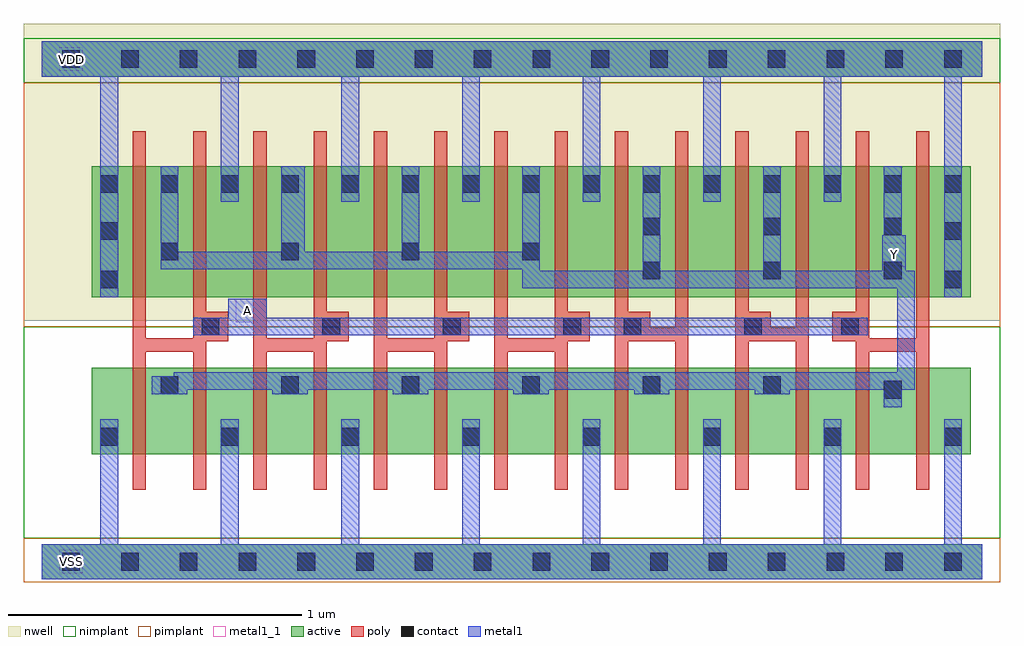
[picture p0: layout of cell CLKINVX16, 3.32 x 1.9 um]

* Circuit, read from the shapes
.subckt CLKINVX16 A VDD VSS Y
M1 Y A VSS VSS nfet w=0.295u l=0.045u m=14
M2 Y A VDD VDD pfet w=0.445u l=0.045u m=14
.ends

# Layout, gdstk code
import gdstk
lib = gdstk.Library(unit=1e-6, precision=5e-10)
def R(c, l, rs):  # rectangles x0, y0, x1, y1
    for r in rs: c.add(gdstk.rectangle(r[:2], r[2:], *l))
def A(c, l, x, y, w, h, nx, ny, dx, dy):  # array of equal rectangles
    R(c, l, [(x+i*dx, y+j*dy, x+i*dx+w, y+j*dy+h) for i in range(nx) for j in range(ny)])
def P(c, l, *ps):  # polygons
    for p in ps: c.add(gdstk.Polygon(p, *l))
active = (1, 0)
nwell = (2, 0)
poly = (3, 0)
nimplant = (4, 0)
pimplant = (5, 0)
contact = (6, 0)
metal1 = (7, 0)
metal1_1 = (7, 1)

clkinvx16 = lib.new_cell('CLKINVX16')
R(clkinvx16, active, [(0,-0.06,3.2,0.06), (0.17,0.365,3.16,0.66), (0.17,0.9,3.16,1.345), (0,1.65,3.2,1.77)])
R(clkinvx16, nwell, [(-0.06,0.82,3.26,1.83)])
P(clkinvx16, poly, [(0.31,1.465),(0.355,1.465),(0.355,0.76),(0.515,0.76),(0.515,1.465),(0.56,1.465),(0.56,0.85),(0.635,0.85),(0.635,0.75),(0.56,0.75),(0.56,0.245),(0.515,0.245),(0.515,0.715),(0.355,0.715),(0.355,0.245),(0.31,0.245)],
  [(0.72,1.465),(0.765,1.465),(0.765,0.76),(0.925,0.76),(0.925,1.465),(0.97,1.465),(0.97,0.85),(1.045,0.85),(1.045,0.75),(0.97,0.75),(0.97,0.245),(0.925,0.245),(0.925,0.715),(0.765,0.715),(0.765,0.245),(0.72,0.245)],
  [(1.13,1.465),(1.175,1.465),(1.175,0.76),(1.335,0.76),(1.335,1.465),(1.38,1.465),(1.38,0.85),(1.455,0.85),(1.455,0.75),(1.38,0.75),(1.38,0.245),(1.335,0.245),(1.335,0.715),(1.175,0.715),(1.175,0.245),(1.13,0.245)],
  [(1.54,1.465),(1.585,1.465),(1.585,0.76),(1.745,0.76),(1.745,1.465),(1.79,1.465),(1.79,0.85),(1.865,0.85),(1.865,0.75),(1.79,0.75),(1.79,0.245),(1.745,0.245),(1.745,0.715),(1.585,0.715),(1.585,0.245),(1.54,0.245)],
  [(1.95,1.465),(1.995,1.465),(1.995,0.85),(2.07,0.85),(2.07,0.795),(2.155,0.795),(2.155,1.465),(2.2,1.465),(2.2,0.245),(2.155,0.245),(2.155,0.75),(1.995,0.75),(1.995,0.245),(1.95,0.245)],
  [(2.36,1.465),(2.405,1.465),(2.405,0.85),(2.48,0.85),(2.48,0.795),(2.565,0.795),(2.565,1.465),(2.61,1.465),(2.61,0.245),(2.565,0.245),(2.565,0.75),(2.405,0.75),(2.405,0.245),(2.36,0.245)],
  [(2.77,1.465),(2.815,1.465),(2.815,0.76),(2.975,0.76),(2.975,1.465),(3.02,1.465),(3.02,0.245),(2.975,0.245),(2.975,0.715),(2.815,0.715),(2.815,0.245),(2.77,0.245),(2.77,0.75),(2.69,0.75),(2.69,0.85),(2.77,0.85)])
R(clkinvx16, nimplant, [(-0.06,0.08,3.26,0.8), (-0.06,1.63,3.26,1.78)])
R(clkinvx16, pimplant, [(-0.06,-0.07,3.26,0.08), (-0.06,0.8,3.26,1.63)])
A(clkinvx16, contact, 0.07, -0.03, 0.06, 0.06, 16, 2, 0.2, 1.71)
A(clkinvx16, contact, 0.2, 0.395, 0.06, 0.06, 8, 1, 0.41, 0)
A(clkinvx16, contact, 0.405, 0.57, 0.06, 0.06, 6, 1, 0.41, 0)
A(clkinvx16, contact, 0.545, 0.77, 0.06, 0.06, 4, 1, 0.41, 0)
A(clkinvx16, contact, 2.045, 0.96, 0.06, 0.06, 3, 2, 0.41, 0.15)
A(clkinvx16, contact, 0.405, 1.025, 0.06, 0.06, 4, 1, 0.41, 0)
A(clkinvx16, contact, 0.2, 1.255, 0.06, 0.06, 15, 1, 0.205, 0)
R(clkinvx16, contact, [(2.865,0.555,2.925,0.615), (1.98,0.77,2.04,0.83), (2.39,0.77,2.45,0.83), (2.72,0.77,2.78,0.83), (0.2,0.93,0.26,0.99), (3.07,0.93,3.13,0.99), (0.2,1.095,0.26,1.155), (3.07,1.095,3.13,1.155)])
P(clkinvx16, metal1, [(0.635,0.895),(0.765,0.895),(0.765,0.83),(2.81,0.83),(2.81,0.77),(0.515,0.77),(0.515,0.83),(0.635,0.83)],
  [(0.2,0.485),(0.26,0.485),(0.26,0.06),(0.61,0.06),(0.61,0.485),(0.67,0.485),(0.67,0.06),(1.02,0.06),(1.02,0.485),(1.08,0.485),(1.08,0.06),(1.43,0.06),(1.43,0.485),(1.49,0.485),(1.49,0.06),(1.84,0.06),(1.84,0.485),(1.9,0.485),(1.9,0.06),(2.25,0.06),(2.25,0.485),(2.31,0.485),(2.31,0.06),(2.66,0.06),(2.66,0.485),(2.72,0.485),(2.72,0.06),(3.07,0.06),(3.07,0.485),(3.13,0.485),(3.13,0.06),(3.2,0.06),(3.2,-0.06),(0,-0.06),(0,0.06),(0.2,0.06)],
  [(0,1.77),(3.2,1.77),(3.2,1.65),(3.13,1.65),(3.13,0.9),(3.07,0.9),(3.07,1.65),(2.72,1.65),(2.72,1.225),(2.66,1.225),(2.66,1.65),(2.31,1.65),(2.31,1.225),(2.25,1.225),(2.25,1.65),(1.9,1.65),(1.9,1.225),(1.84,1.225),(1.84,1.65),(1.49,1.65),(1.49,1.225),(1.43,1.225),(1.43,1.65),(1.08,1.65),(1.08,1.225),(1.02,1.225),(1.02,1.65),(0.67,1.65),(0.67,1.225),(0.61,1.225),(0.61,1.65),(0.26,1.65),(0.26,0.9),(0.2,0.9),(0.2,1.65),(0,1.65)],
  [(0.405,1.345),(0.465,1.345),(0.465,1.055),(0.815,1.055),(0.815,1.345),(0.895,1.345),(0.895,1.055),(1.225,1.055),(1.225,1.345),(1.285,1.345),(1.285,1.055),(1.635,1.055),(1.635,1.345),(1.695,1.345),(1.695,0.99),(2.045,0.99),(2.045,1.345),(2.105,1.345),(2.105,0.99),(2.455,0.99),(2.455,1.345),(2.515,1.345),(2.515,0.99),(2.86,0.99),(2.86,1.11),(2.865,1.11),(2.865,1.345),(2.925,1.345),(2.925,1.11),(2.94,1.11),(2.94,0.99),(2.97,0.99),(2.97,0.585),(2.925,0.585),(2.925,0.525),(2.865,0.525),(2.865,0.585),(2.545,0.585),(2.545,0.57),(2.425,0.57),(2.425,0.585),(2.135,0.585),(2.135,0.57),(2.015,0.57),(2.015,0.585),(1.725,0.585),(1.725,0.57),(1.605,0.57),(1.605,0.585),(1.315,0.585),(1.315,0.57),(1.195,0.57),(1.195,0.585),(0.905,0.585),(0.905,0.57),(0.785,0.57),(0.785,0.585),(0.495,0.585),(0.495,0.57),(0.375,0.57),(0.375,0.63),(0.45,0.63),(0.45,0.645),(2.91,0.645),(2.91,0.93),(1.635,0.93),(1.635,0.995),(0.405,0.995)])
R(clkinvx16, metal1_1, [(0.06,-0.04,0.14,0.04), (0.66,0.815,0.74,0.895), (2.86,1.005,2.94,1.085), (0.06,1.67,0.14,1.75)])
clkinvx16.add(gdstk.Label('Y', (2.9,1.045), layer=7, texttype=1))
clkinvx16.add(gdstk.Label('A', (0.7,0.855), layer=7, texttype=1))
clkinvx16.add(gdstk.Label('VDD', (0.1,1.71), layer=7, texttype=1))
clkinvx16.add(gdstk.Label('VSS', (0.1,0), layer=7, texttype=1))
clkinvx16.add(gdstk.Label('CLKINVX16', (0,0), layer=63, texttype=0))

lib.write_gds('CLKINVX16.gds')
